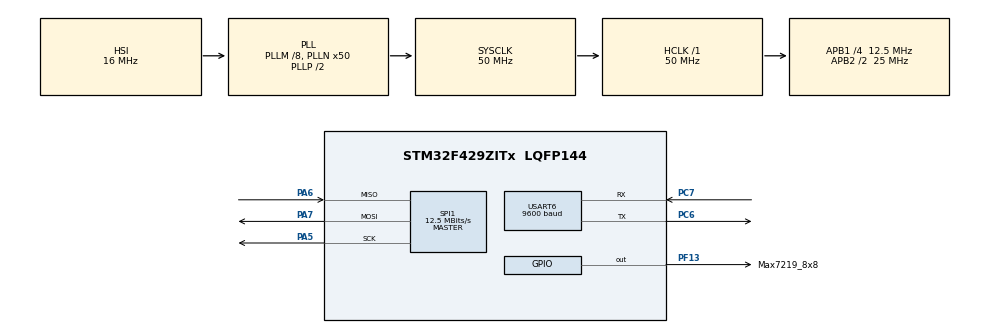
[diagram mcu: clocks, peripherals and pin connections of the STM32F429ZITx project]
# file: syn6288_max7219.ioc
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FREERTOS.Tasks01=defaultTask,24,128,StartDefaultTask,Default,NULL,Dynamic,NULL,NULL
Mcu.Family=STM32F4
Mcu.Name=STM32F429ZITx
Mcu.Package=LQFP144
NVIC.PriorityGroup=NVIC_PRIORITYGROUP_4
NVIC.TIM1_UP_TIM10_IRQn=true\:15\:0\:false\:false\:true\:false\:false\:true\:true
NVIC.TimeBase=TIM1_UP_TIM10_IRQn
NVIC.TimeBaseIP=TIM1
PA13.Mode=Serial_Wire
PA13.Signal=SYS_JTMS-SWDIO
PA14.Mode=Serial_Wire
PA14.Signal=SYS_JTCK-SWCLK
PA5.Mode=Full_Duplex_Master
PA5.Signal=SPI1_SCK
PA6.Mode=Full_Duplex_Master
PA6.Signal=SPI1_MISO
PA7.Mode=Full_Duplex_Master
PA7.Signal=SPI1_MOSI
PC6.Mode=Asynchronous
PC6.Signal=USART6_TX
PC7.Mode=Asynchronous
PC7.Signal=USART6_RX
PF13.GPIO_Label=Max7219_8x8
PF13.Signal=GPIO_Output
PH0/OSC_IN.Mode=HSE-External-Oscillator
PH0/OSC_IN.Signal=RCC_OSC_IN
PH1/OSC_OUT.Mode=HSE-External-Oscillator
PH1/OSC_OUT.Signal=RCC_OSC_OUT
ProjectManager.HeapSize=0x200
ProjectManager.StackSize=0x400
ProjectManager.TargetToolchain=MDK-ARM V5.32
RCC.48MHZClocksFreq_Value=14285714.285714285
RCC.AHBFreq_Value=50000000
RCC.APB1CLKDivider=RCC_HCLK_DIV4
RCC.APB1Freq_Value=12500000
RCC.APB1TimFreq_Value=25000000
RCC.APB2CLKDivider=RCC_HCLK_DIV2
RCC.APB2Freq_Value=25000000
RCC.APB2TimFreq_Value=50000000
RCC.CortexFreq_Value=50000000
RCC.HCLKFreq_Value=50000000
RCC.HSE_VALUE=8000000
RCC.HSI_VALUE=16000000
RCC.LSE_VALUE=32768
RCC.PLLM=8
RCC.PLLMUL=RCC_PLL_MUL9
RCC.PLLN=50
RCC.PLLQ=7
RCC.PRESCALERUSB=RCC_USBCLKSOURCE_PLL_DIV1_5
RCC.SYSCLKFreq_VALUE=50000000
RCC.SYSCLKSource=RCC_SYSCLKSOURCE_PLLCLK
RCC.SYSCLKSourceVirtual=RCC_SYSCLKSOURCE_PLLCLK
RCC.USBFreq_Value=48000000
RCC.VCOOutputFreq_Value=100000000
SPI1.CalculateBaudRate=12.5 MBits/s
SPI1.Direction=SPI_DIRECTION_2LINES
SPI1.Mode=SPI_MODE_MASTER
SPI1.VirtualType=VM_MASTER
USART6.BaudRate=9600
USART6.VirtualMode=VM_ASYNC
VP_FREERTOS_VS_CMSIS_V2.Mode=CMSIS_V2
VP_SYS_VS_tim1.Mode=TIM1
board=NUCLEO-F429ZI

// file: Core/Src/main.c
/* USER CODE BEGIN Header */
/**
  ******************************************************************************
  * @file           : main.c
  * @brief          : Main program body
  ******************************************************************************
  * @attention
  *
  * Copyright (c) 2024 STMicroelectronics.
  * All rights reserved.
  *
  * This software is licensed under terms that can be found in the LICENSE file
  * in the root directory of this software component.
  * If no LICENSE file comes with this software, it is provided AS-IS.
  *
  ******************************************************************************
  */
/* USER CODE END Header */
#include "main.h"
#include "spi.h"
#include "usart.h"
#include "gpio.h"

/* USER CODE BEGIN Includes */
#include "syn6288.h"
#include "max7219.h"
#include "FreeRTOS.h"
#include "queue.h"
#include "task.h"
/* USER CODE END Includes */

/* USER CODE BEGIN PV */
uint8_t cmdStop[] = {0xfd, 0x00, 0x02, 0x02, 0xfd};
uint8_t cmdSuspend[] = {0XFD, 0X00, 0X02, 0X03, 0XFC};
uint8_t cmdResume[] = {0XFD, 0X00, 0X02, 0X04, 0XFB};
uint8_t cmdStatus[] = {0XFD, 0X00, 0X02, 0X21, 0XDE};
uint8_t cmdPowerdown[] = {0XFD, 0X00, 0X02, 0X88, 0X77};

//matrix
uint8_t YunTech_Logo[6][32] = {
	//雲
	{
		0x00,0x00,0x00,0x20,0x1F,0xF0,0x41,0x04,
		0x7F,0xFE,0x41,0x04,0x99,0x30,0x05,0x40,
		0x19,0x30,0x00,0x00,0x1F,0xF0,0x00,0x04,
		0xFF,0xFE,0x04,0x20,0x3F,0xF8,0x10,0x08
	},
	//林
	{
		/*
		0x00, 0x00 > top left, top right
		0x36, 0x70 > bottom left, bottom right
		*/
		//top
		0x00,0x00,0x18,0x30,0x10,0x20,0x14,0x24,
		0xFE,0xFE,0x10,0x20,0x30,0x60,0x38,0x70,
		//bottom
		0x36,0x70,0x52,0xA8,0x50,0xAC,0x91,0x26,
		0x12,0x24,0x10,0x20,0x10,0x20,0x10,0x20
	},
	//科
	{
		0x00,0x00,0x1C,0x18,0xF1,0x10,0x10,0xD0,
		0x14,0x50,0xFE,0x10,0x11,0x10,0x30,0xD0,
		0x38,0x50,0x54,0x14,0x50,0x1E,0x93,0xF0,
		0x10,0x10,0x10,0x10,0x10,0x10,0x10,0x10
	},
	//技
	{
		0x00,0x00,0x30,0x30,0x20,0x20,0x20,0x24,
		0xFB,0xFE,0x20,0x20,0x20,0x28,0x29,0xFC,
		0x30,0x88,0xE0,0x88,0xA0,0x50,0x20,0x50,
		0x20,0x20,0x20,0x50,0xE0,0x88,0x43,0x06
	},
	//大
	{
		0x00,0x00,0x01,0x80,0x01,0x00,0x01,0x00,
		0x01,0x04,0xFF,0xFE,0x01,0x00,0x01,0x00,
		0x03,0x00,0x02,0x80,0x04,0x40,0x04,0x40,
		0x08,0x20,0x10,0x10,0x20,0x0E,0xC0,0x04
	},
	//學
	{
		0x00,0x00,0x2A,0x88,0x31,0x3C,0x22,0x88,
		0x38,0x38,0x22,0x88,0x39,0x38,0x22,0x88,
		0x7F,0xFE,0x40,0x04,0x8F,0xE8,0x00,0x40,
		0x7F,0xFC,0x00,0x80,0x03,0x80,0x01,0x00
	}
};

//encode -> big5
uint8_t syn6288_data[] = {0x5b,0x76,0x36,0x5d,0x5b,0x6d,0x30,0x5d,0x5b,0x74,0x35,0x5d,0xb6,0xb3,0xaa,0x4c,0xac,0xec,0xa7,0xde,0xa4,0x6a,0xbe,0xc7};

uint8_t Max7219_data[4];
/*
task handle define
*/
TaskHandle_t handleYuntech;
TaskHandle_t handleTTS;
/* USER CODE END PV */

void SystemClock_Config(void);

/* USER CODE BEGIN 0 */
//matrix display
void taskYuntech(void *pvParm){
	while(1){
		for(int l = 0; l < 6; l++)//total 6 words
		{
			for(int i = 0; i < 8; i++)//one step one line > so run 8 times
			{
				Max7219_data[0] = YunTech_Logo[l][i*2];//top left
				Max7219_data[1] = YunTech_Logo[l][i*2 + 1];//top right
				Max7219_data[2] = YunTech_Logo[l][i*2 + 16];//bottom left
				Max7219_data[3] = YunTech_Logo[l][i*2 + 17];//bottom right
				Write_Matrix(i + 1, Max7219_data);
			}
			vTaskDelay(1000);
		}
	}
}

void taskTTS(void *pvParm){
	while(1){
		SYN_FrameInfo(0, syn6288_data);
		vTaskDelay(8000);
	}
}
/* USER CODE END 0 */

int main(void)
{

  /* MCU Configuration--------------------------------------------------------*/

  /* Reset of all peripherals, Initializes the Flash interface and the Systick. */
  HAL_Init();

  /* Configure the system clock */
  SystemClock_Config();

  /* Initialize all configured peripherals */
  MX_GPIO_Init();
  MX_SPI1_Init();
  MX_USART6_UART_Init();
  /* USER CODE BEGIN 2 */
	//must place after spi init
	Init_MAX7219_8x8();

	//create task
	xTaskCreate(taskYuntech, "Yuntech Logo", 512, NULL, 1, &handleYuntech);
	xTaskCreate(taskTTS, "TTS", 512, NULL, 1, &handleTTS);

	//start scheduler
	vTaskStartScheduler();
  /* USER CODE END 2 */

  /* Init scheduler */

  /* Start scheduler */

  /* We should never get here as control is now taken by the scheduler */
  /* Infinite loop */
  while (1)
  {

  }
}

void SystemClock_Config(void)
{
  RCC_OscInitTypeDef RCC_OscInitStruct = {0};
  RCC_ClkInitTypeDef RCC_ClkInitStruct = {0};

  /** Configure the main internal regulator output voltage
  */
  __HAL_RCC_PWR_CLK_ENABLE();
  __HAL_PWR_VOLTAGESCALING_CONFIG(PWR_REGULATOR_VOLTAGE_SCALE3);

  /** Initializes the RCC Oscillators according to the specified parameters
  * in the RCC_OscInitTypeDef structure.
  */
  RCC_OscInitStruct.OscillatorType = RCC_OSCILLATORTYPE_HSI;
  RCC_OscInitStruct.HSIState = RCC_HSI_ON;
  RCC_OscInitStruct.HSICalibrationValue = RCC_HSICALIBRATION_DEFAULT;
  RCC_OscInitStruct.PLL.PLLState = RCC_PLL_ON;
  RCC_OscInitStruct.PLL.PLLSource = RCC_PLLSOURCE_HSI;
  RCC_OscInitStruct.PLL.PLLM = 8;
  RCC_OscInitStruct.PLL.PLLN = 50;
  RCC_OscInitStruct.PLL.PLLP = RCC_PLLP_DIV2;
  RCC_OscInitStruct.PLL.PLLQ = 7;
  if (HAL_RCC_OscConfig(&RCC_OscInitStruct) != HAL_OK)
  {
    Error_Handler();
  }

  /** Initializes the CPU, AHB and APB buses clocks
  */
  RCC_ClkInitStruct.ClockType = RCC_CLOCKTYPE_HCLK|RCC_CLOCKTYPE_SYSCLK
                              |RCC_CLOCKTYPE_PCLK1|RCC_CLOCKTYPE_PCLK2;
  RCC_ClkInitStruct.SYSCLKSource = RCC_SYSCLKSOURCE_PLLCLK;
  RCC_ClkInitStruct.AHBCLKDivider = RCC_SYSCLK_DIV1;
  RCC_ClkInitStruct.APB1CLKDivider = RCC_HCLK_DIV4;
  RCC_ClkInitStruct.APB2CLKDivider = RCC_HCLK_DIV2;

  if (HAL_RCC_ClockConfig(&RCC_ClkInitStruct, FLASH_LATENCY_1) != HAL_OK)
  {
    Error_Handler();
  }
}

void HAL_TIM_PeriodElapsedCallback(TIM_HandleTypeDef *htim)
{
  if (htim->Instance == TIM1) {
    HAL_IncTick();
  }
}

void Error_Handler(void)
{
  __disable_irq();
  while (1)
  {
  }
}
